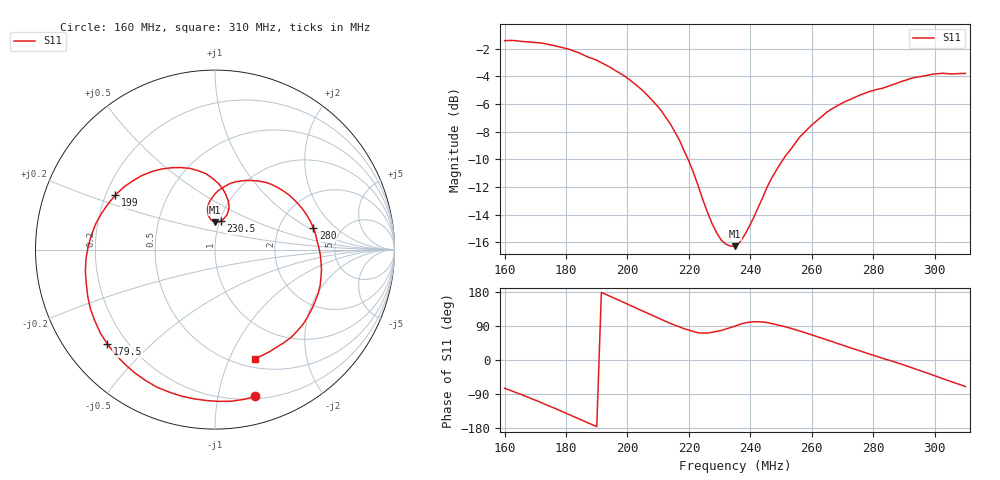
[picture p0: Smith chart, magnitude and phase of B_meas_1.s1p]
# HZ S RI R 50
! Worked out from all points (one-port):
!   101 points, 160 MHz to 310 MHz, reference 50 ohm
!   lowest |S11| = -16.3 dB at 235 MHz (marker M1), VSWR 1.36, Z = 47.9 + j15.1 ohm
!   |S11| at or under -10 dB: 219.7 MHz to 250.7 MHz (30.97 MHz wide, 13.2 % of centre)
!   S11 on the Smith chart (normalised r, x): 160 MHz: 0.22, -1.29; 179.5 MHz: 0.13, -0.37; 199 MHz: 0.24, +0.24; 230.5 MHz: 1.02, +0.33; 280 MHz: 3.13, +1.10; 310 MHz: 0.60, -1.24
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1.6e8  0.2252 -0.8182
1.645e8  0.0247 -0.8457
1.705e8  -0.2512 -0.7955
1.75e8  -0.4474 -0.6865
1.795e8  -0.5993 -0.5262
1.84e8  -0.6943 -0.3298
1.885e8  -0.7221 -0.1204
1.93e8  -0.6878 0.0834
1.975e8  -0.5939 0.257
1.99e8  -0.555 0.3044
2.035e8  -0.4043 0.414
2.08e8  -0.2442 0.4559
2.125e8  -0.0913 0.4386
2.17e8  0.0186 0.3688
2.23e8  0.0789 0.2412
2.305e8  0.0337 0.1581
2.35e8  0.0018 0.1537
2.395e8  -0.0301 0.1773
2.455e8  -0.0379 0.2489
2.545e8  0.0597 0.3552
2.635e8  0.2464 0.3816
2.725e8  0.4393 0.2789
2.8e8  0.5476 0.121
2.86e8  0.5867 -0.0282
2.92e8  0.5859 -0.1997
2.995e8  0.4928 -0.4126
3.04e8  0.3877 -0.5159
3.1e8  0.221 -0.6073
